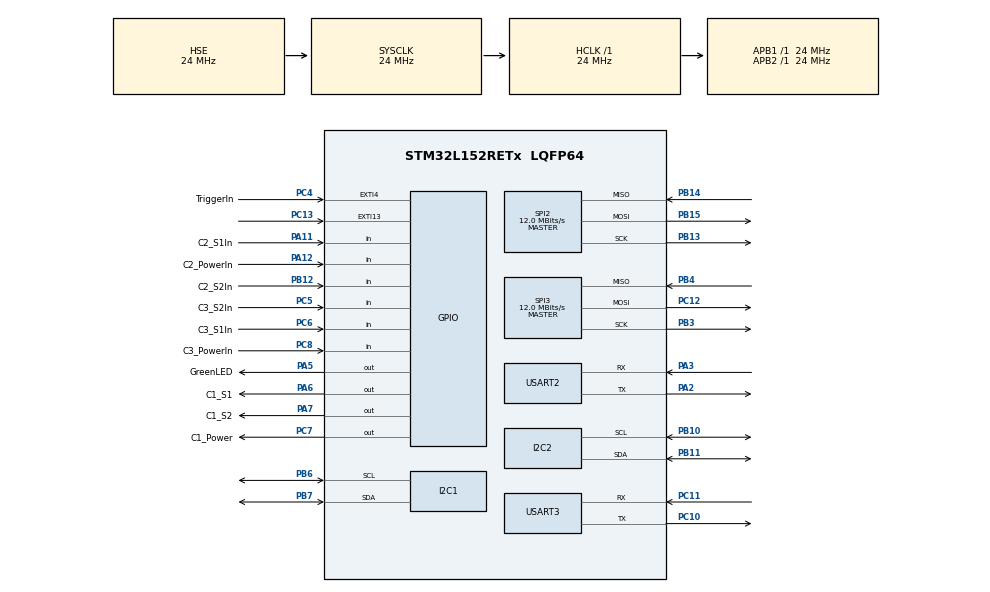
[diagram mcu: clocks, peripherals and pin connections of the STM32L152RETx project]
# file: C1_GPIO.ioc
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Mcu.Family=STM32L1
Mcu.Name=STM32L152RETx
Mcu.Package=LQFP64
NVIC.EXTI15_10_IRQn=true\:0\:0\:false\:false\:true\:true\:true
NVIC.EXTI4_IRQn=true\:0\:0\:false\:false\:true\:true\:true
NVIC.PriorityGroup=NVIC_PRIORITYGROUP_4
PA11.GPIO_Label=C2_S1In
PA11.Signal=GPIO_Input
PA12.GPIO_Label=C2_PowerIn
PA12.Signal=GPIO_Input
PA2.Mode=Asynchronous
PA2.Signal=USART2_TX
PA3.Mode=Asynchronous
PA3.Signal=USART2_RX
PA5.GPIO_Label=GreenLED
PA5.Signal=GPIO_Output
PA6.GPIO_Label=C1_S1
PA6.Signal=GPIO_Output
PA7.GPIO_Label=C1_S2
PA7.Signal=GPIO_Output
PB10.Mode=I2C
PB10.Signal=I2C2_SCL
PB11.Mode=I2C
PB11.Signal=I2C2_SDA
PB12.GPIO_Label=C2_S2In
PB12.Signal=GPIO_Input
PB13.Mode=Full_Duplex_Master
PB13.Signal=SPI2_SCK
PB14.Mode=Full_Duplex_Master
PB14.Signal=SPI2_MISO
PB15.Mode=Full_Duplex_Master
PB15.Signal=SPI2_MOSI
PB3.Mode=Full_Duplex_Master
PB3.Signal=SPI3_SCK
PB4.Mode=Full_Duplex_Master
PB4.Signal=SPI3_MISO
PB6.Mode=I2C
PB6.Signal=I2C1_SCL
PB7.Mode=I2C
PB7.Signal=I2C1_SDA
PC10.Mode=Asynchronous
PC10.Signal=USART3_TX
PC11.Mode=Asynchronous
PC11.Signal=USART3_RX
PC12.Mode=Full_Duplex_Master
PC12.Signal=SPI3_MOSI
PC13-WKUP2.Signal=GPXTI13
PC4.GPIO_Label=TriggerIn
PC4.GPIO_ModeDefaultEXTI=GPIO_MODE_IT_FALLING
PC4.Signal=GPXTI4
PC5.GPIO_Label=C3_S2In
PC5.Signal=GPIO_Input
PC6.GPIO_Label=C3_S1In
PC6.Signal=GPIO_Input
PC7.GPIO_Label=C1_Power
PC7.Signal=GPIO_Output
PC8.GPIO_Label=C3_PowerIn
PC8.Signal=GPIO_Input
PH0-OSC_IN.Mode=HSE-External-Oscillator
PH0-OSC_IN.Signal=RCC_OSC_IN
PH1-OSC_OUT.Mode=HSE-External-Oscillator
PH1-OSC_OUT.Signal=RCC_OSC_OUT
ProjectManager.HeapSize=0x200
ProjectManager.StackSize=0x400
ProjectManager.TargetToolchain=MDK-ARM V5.27
RCC.48MHZClocksFreq_Value=36000000
RCC.AHBFreq_Value=24000000
RCC.APB1Freq_Value=24000000
RCC.APB1TimFreq_Value=24000000
RCC.APB2Freq_Value=24000000
RCC.APB2TimFreq_Value=24000000
RCC.HCLKFreq_Value=24000000
RCC.HSE_VALUE=24000000
RCC.HSI_VALUE=16000000
RCC.LSE_VALUE=32768
RCC.MSI_VALUE=2097000
RCC.PLLSourceVirtual=RCC_PLLSOURCE_HSE
RCC.SYSCLKFreq_VALUE=24000000
RCC.SYSCLKSource=RCC_SYSCLKSOURCE_HSE
RCC.VCOOutputFreq_Value=72000000
SPI2.CalculateBaudRate=12.0 MBits/s
SPI2.Direction=SPI_DIRECTION_2LINES
SPI2.Mode=SPI_MODE_MASTER
SPI2.VirtualType=VM_MASTER
SPI3.CalculateBaudRate=12.0 MBits/s
SPI3.Direction=SPI_DIRECTION_2LINES
SPI3.Mode=SPI_MODE_MASTER
SPI3.VirtualType=VM_MASTER
USART2.VirtualMode=VM_ASYNC
USART3.VirtualMode=VM_ASYNC
board=custom

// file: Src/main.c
/* USER CODE BEGIN Header */
/**
  ******************************************************************************
  * @file           : main.c
  * @brief          : Main program body
  ******************************************************************************
  * @attention
  *
  * <h2><center>&copy; Copyright (c) 2020 STMicroelectronics.
  * All rights reserved.</center></h2>
  *
  * This software component is licensed by ST under BSD 3-Clause license,
  * the "License"; You may not use this file except in compliance with the
  * License. You may obtain a copy of the License at:
  *                        opensource.org/licenses/BSD-3-Clause
  *
  ******************************************************************************
  */
/* USER CODE END Header */

#include "main.h"

/* USER CODE BEGIN Includes */
#include <stdio.h>
/* USER CODE END Includes */

/* USER CODE BEGIN PTD */
typedef enum{
	P_Core = 0x7, S_Core = 0x5, Reboot = 0x1, Sleep = 0x6, Killed = 0x0
}States;

typedef enum{
	ThreeCore = 0, TwoCore = 1, OneCore = 2
}CoreStatus;
/* USER CODE END PTD */

/* USER CODE BEGIN PD */
#define Power 1
#define NoPower 0

/* USER CODE END PD */

/* USER CODE BEGIN PM */
#define Read(gpio, pin) HAL_GPIO_ReadPin(gpio, pin)
#define Combine(pin1, pin2, pin3) (pin1 << 2) | (pin2 << 1) | pin1
/* USER CODE END PM */

I2C_HandleTypeDef hi2c1;
I2C_HandleTypeDef hi2c2;

SPI_HandleTypeDef hspi2;
SPI_HandleTypeDef hspi3;

UART_HandleTypeDef huart2;
UART_HandleTypeDef huart3;

/* USER CODE BEGIN PV */
	int trigger = 0;
	int transitionComplete = 0;
/* USER CODE END PV */

void SystemClock_Config(void);
static void MX_GPIO_Init(void);
static void MX_USART2_UART_Init(void);
static void MX_I2C1_Init(void);
static void MX_I2C2_Init(void);
static void MX_SPI2_Init(void);
static void MX_SPI3_Init(void);
static void MX_USART3_UART_Init(void);
/* USER CODE BEGIN PFP */
States state_checker(States my_state);
CoreStatus power_checker(void);
void display_LED(States *state);
void GOTHEFUCKTOSLEEP(void);
/* USER CODE END PFP */

/* USER CODE BEGIN 0 */
	char Msg1[100] = {0};
/* USER CODE END 0 */

int main(void)
{
  /* USER CODE BEGIN 1 */
	//INTIALIZE POWER AND STATE
	States state;
	CoreStatus power;
	state = P_Core;
	power = ThreeCore;
  /* USER CODE END 1 */

  /* MCU Configuration--------------------------------------------------------*/

  /* Reset of all peripherals, Initializes the Flash interface and the Systick. */
  HAL_Init();

  /* Configure the system clock */
  SystemClock_Config();

  /* Initialize all configured peripherals */
  MX_GPIO_Init();
  MX_USART2_UART_Init();
  MX_I2C1_Init();
  MX_I2C2_Init();
  MX_SPI2_Init();
  MX_SPI3_Init();
  MX_USART3_UART_Init();

  /* Infinite loop */
  /* USER CODE BEGIN WHILE */
  while (1)
  {
				HAL_GPIO_WritePin(GPIOC, C1_Power_Pin, GPIO_PIN_SET);
				HAL_GPIO_WritePin(GPIOA, C1_S1_Pin, GPIO_PIN_SET);
				HAL_GPIO_WritePin(GPIOA, C1_S2_Pin, GPIO_PIN_SET);

		#if 0
    /* USER CODE END WHILE */
<<<<<<< HEAD
		if(trigger == 1){
			switch(state){
				case P_Core:
					//if( power == ThreeCore || power == TwoCore) state = S_Core;
					//else state = P_Core;
					state = S_Core;
					//	HAL_GPIO_WritePin(GPIOA, GreenLED_Pin, GPIO_PIN_SET);
					//state = state_checker(state);
					break;
				case S_Core:
					//if(power == ThreeCore || power == TwoCore) state = Reboot;
					//If you are the only core
					//if(power == OneCore) state = P_Core;
					state = Reboot;
					//HAL_GPIO_WritePin(GPIOA, GreenLED_Pin, GPIO_PIN_SET);
					break;
				case Reboot:
					//if(power == ThreeCore) state = Sleep;
				  //else if(power == TwoCore) state = P_Core;
					state = Sleep;
					//HAL_GPIO_WritePin(GPIOA, GreenLED_Pin, GPIO_PIN_SET);
					break;
				case Sleep:
					//UNIQUE TO THREECORE
					state = P_Core;
					//HAL_GPIO_WritePin(GPIOA, GreenLED_Pin, GPIO_PIN_SET);
					break;
				case Killed:
					state = Killed;
					HAL_GPIO_WritePin(GPIOC, C1_Power_Pin, GPIO_PIN_RESET);
					break;
			}
			//RESET TRIGGER
			trigger = 0;
		} else {
			display_LED(&state);
		}

=======
			if(trigger == 1){
					switch(state){
						case P_Core:
							HAL_GPIO_WritePin(GPIOA, GPIO_PIN_5, GPIO_PIN_RESET);
							//if( power == ThreeCore || power == TwoCore) state = S_Core;
							//else state = P_Core;
							state = S_Core;
					    //HAL_GPIO_WritePin(GPIOA, GreenLED_Pin, GPIO_PIN_SET);
							//state = state_checker(state);
							break;
						case S_Core:
							HAL_GPIO_WritePin(GPIOA, GPIO_PIN_5, GPIO_PIN_RESET);
							//if(power == ThreeCore || power == TwoCore) state = Reboot;
							//If you are the only core
							//if(power == OneCore) state = P_Core;
							state = Reboot;
						//HAL_GPIO_WritePin(GPIOA, GreenLED_Pin, GPIO_PIN_SET);
							break;
						case Reboot:
							HAL_GPIO_WritePin(GPIOA, GPIO_PIN_5, GPIO_PIN_RESET);
							//if(power == ThreeCore) state = Sleep;
						  //else if(power == TwoCore) state = P_Core;
							state = Sleep;
						//HAL_GPIO_WritePin(GPIOA, GreenLED_Pin, GPIO_PIN_SET);
							break;
						case Sleep:
							//HAL_GPIO_WritePin(GPIOA, GPIO_PIN_5, GPIO_PIN_RESET);
							//GOTHEFUCKTOSLEEP();
							//UNIQUE TO THREECORE
							state = P_Core;
						//HAL_GPIO_WritePin(GPIOA, GreenLED_Pin, GPIO_PIN_SET);
							break;
						case Killed:
							state = Killed;
							HAL_GPIO_WritePin(GPIOC, C1_Power_Pin, GPIO_PIN_RESET);
							break;
					}
					//RESET TRIGGER
					trigger = 0;
			}
			#endif

			//display_LED(&state);
>>>>>>> 4cb03135c4a775d7a18a05864055eaecff575b94
			#if 0
			else{

				if(state == Sleep){
					snprintf((char *)Msg1, sizeof(Msg1), "\r\nSleep soon\r\n");
					HAL_UART_Transmit(&huart2, (uint8_t *) Msg1, sizeof(Msg1), 1);
					//HAL_Delay(2500);
					//going to sleep
					GOTHEFUCKTOSLEEP();
					//woke up
					snprintf((char *)Msg1, sizeof(Msg1), "\r\nWoke Up\r\n");
					HAL_UART_Transmit(&huart2, (uint8_t *) Msg1, sizeof(Msg1), 1);

					/*
					for(int i = 0; i < 5; ++i){
						HAL_GPIO_TogglePin(GPIOA, GPIO_PIN_5);
						HAL_Delay(150);
					}
					*/
			}
		}
		#endif
<<<<<<< HEAD

=======
>>>>>>> 4cb03135c4a775d7a18a05864055eaecff575b94
		#if 0
		if(state == Sleep){
			//HAL_GPIO_WritePin(GPIOA, GreenLED_Pin, GPIO_PIN_SET);
			snprintf((char *)Msg1, sizeof(Msg1), "\r\nSleep soon\r\n");
			HAL_UART_Transmit(&huart2, (uint8_t *) Msg1, sizeof(Msg1), 1);

			GOTHEFUCKTOSLEEP();
			/*
					for(int i = 0; i < 5; ++i){
						HAL_GPIO_WritePin(GPIOA, GPIO_PIN_5, GPIO_PIN_SET);
						//HAL_Delay(100);
					}
					snprintf((char *)Msg1, sizeof(Msg1), "\r\nWoke Up\r\n");
					HAL_UART_Transmit(&huart2, (uint8_t *) Msg1, sizeof(Msg1), 1);
			*/
		}
		snprintf((char *)Msg1, sizeof(Msg1), "\r\nstate:%d %d\r\n", state, power);
		HAL_UART_Transmit(&huart2, (uint8_t *) Msg1, sizeof(Msg1), 1);
		#endif
<<<<<<< HEAD
=======
		//display_LED(&state);
>>>>>>> 4cb03135c4a775d7a18a05864055eaecff575b94
  }
}

void display_LED(States *state){
		snprintf((char *)Msg1, sizeof(Msg1), "\r\nstate:%d\r\n", *state);
		HAL_UART_Transmit(&huart2, (uint8_t *) Msg1, sizeof(Msg1), 1);
		switch(*state){
			case P_Core:
				HAL_GPIO_WritePin(GPIOC, C1_Power_Pin, GPIO_PIN_SET);
				HAL_GPIO_WritePin(GPIOA, C1_S1_Pin, GPIO_PIN_SET);
				HAL_GPIO_WritePin(GPIOA, C1_S2_Pin, GPIO_PIN_SET);
				break;
			case S_Core:
				HAL_GPIO_WritePin(GPIOC, C1_Power_Pin, GPIO_PIN_SET);
				HAL_GPIO_WritePin(GPIOA, C1_S1_Pin, GPIO_PIN_RESET);
				HAL_GPIO_WritePin(GPIOA, C1_S2_Pin, GPIO_PIN_SET);
				break;
			case Reboot:
				HAL_GPIO_WritePin(GPIOC, C1_Power_Pin, GPIO_PIN_RESET);
				HAL_GPIO_WritePin(GPIOA, C1_S1_Pin, GPIO_PIN_RESET);
				HAL_GPIO_WritePin(GPIOA, C1_S2_Pin, GPIO_PIN_SET);
				break;
			case Sleep:
				HAL_GPIO_WritePin(GPIOC, C1_Power_Pin, GPIO_PIN_SET);
				HAL_GPIO_WritePin(GPIOA, C1_S1_Pin, GPIO_PIN_SET);
				HAL_GPIO_WritePin(GPIOA, C1_S2_Pin, GPIO_PIN_RESET);
				break;
			case Killed:
				HAL_GPIO_WritePin(GPIOC, C1_Power_Pin, GPIO_PIN_RESET);
				HAL_GPIO_WritePin(GPIOA, C1_S1_Pin, GPIO_PIN_RESET);
				HAL_GPIO_WritePin(GPIOA, C1_S2_Pin, GPIO_PIN_RESET);
				break;
		}
}
void SystemClock_Config(void)
{
  RCC_OscInitTypeDef RCC_OscInitStruct = {0};
  RCC_ClkInitTypeDef RCC_ClkInitStruct = {0};

  /** Configure the main internal regulator output voltage
  */
  __HAL_PWR_VOLTAGESCALING_CONFIG(PWR_REGULATOR_VOLTAGE_SCALE1);
  /** Initializes the CPU, AHB and APB busses clocks
  */
  RCC_OscInitStruct.OscillatorType = RCC_OSCILLATORTYPE_HSE;
  RCC_OscInitStruct.HSEState = RCC_HSE_ON;
  RCC_OscInitStruct.PLL.PLLState = RCC_PLL_NONE;
  if (HAL_RCC_OscConfig(&RCC_OscInitStruct) != HAL_OK)
  {
    Error_Handler();
  }
  /** Initializes the CPU, AHB and APB busses clocks
  */
  RCC_ClkInitStruct.ClockType = RCC_CLOCKTYPE_HCLK|RCC_CLOCKTYPE_SYSCLK
                              |RCC_CLOCKTYPE_PCLK1|RCC_CLOCKTYPE_PCLK2;
  RCC_ClkInitStruct.SYSCLKSource = RCC_SYSCLKSOURCE_HSE;
  RCC_ClkInitStruct.AHBCLKDivider = RCC_SYSCLK_DIV1;
  RCC_ClkInitStruct.APB1CLKDivider = RCC_HCLK_DIV1;
  RCC_ClkInitStruct.APB2CLKDivider = RCC_HCLK_DIV1;

  if (HAL_RCC_ClockConfig(&RCC_ClkInitStruct, FLASH_LATENCY_1) != HAL_OK)
  {
    Error_Handler();
  }
}

static void MX_I2C1_Init(void)
{

  hi2c1.Instance = I2C1;
  hi2c1.Init.ClockSpeed = 100000;
  hi2c1.Init.DutyCycle = I2C_DUTYCYCLE_2;
  hi2c1.Init.OwnAddress1 = 0;
  hi2c1.Init.AddressingMode = I2C_ADDRESSINGMODE_7BIT;
  hi2c1.Init.DualAddressMode = I2C_DUALADDRESS_DISABLE;
  hi2c1.Init.OwnAddress2 = 0;
  hi2c1.Init.GeneralCallMode = I2C_GENERALCALL_DISABLE;
  hi2c1.Init.NoStretchMode = I2C_NOSTRETCH_DISABLE;
  if (HAL_I2C_Init(&hi2c1) != HAL_OK)
  {
    Error_Handler();
  }

}

static void MX_I2C2_Init(void)
{

  hi2c2.Instance = I2C2;
  hi2c2.Init.ClockSpeed = 100000;
  hi2c2.Init.DutyCycle = I2C_DUTYCYCLE_2;
  hi2c2.Init.OwnAddress1 = 0;
  hi2c2.Init.AddressingMode = I2C_ADDRESSINGMODE_7BIT;
  hi2c2.Init.DualAddressMode = I2C_DUALADDRESS_DISABLE;
  hi2c2.Init.OwnAddress2 = 0;
  hi2c2.Init.GeneralCallMode = I2C_GENERALCALL_DISABLE;
  hi2c2.Init.NoStretchMode = I2C_NOSTRETCH_DISABLE;
  if (HAL_I2C_Init(&hi2c2) != HAL_OK)
  {
    Error_Handler();
  }

}

static void MX_SPI2_Init(void)
{

  /* SPI2 parameter configuration*/
  hspi2.Instance = SPI2;
  hspi2.Init.Mode = SPI_MODE_MASTER;
  hspi2.Init.Direction = SPI_DIRECTION_2LINES;
  hspi2.Init.DataSize = SPI_DATASIZE_8BIT;
  hspi2.Init.CLKPolarity = SPI_POLARITY_LOW;
  hspi2.Init.CLKPhase = SPI_PHASE_1EDGE;
  hspi2.Init.NSS = SPI_NSS_SOFT;
  hspi2.Init.BaudRatePrescaler = SPI_BAUDRATEPRESCALER_2;
  hspi2.Init.FirstBit = SPI_FIRSTBIT_MSB;
  hspi2.Init.TIMode = SPI_TIMODE_DISABLE;
  hspi2.Init.CRCCalculation = SPI_CRCCALCULATION_DISABLE;
  hspi2.Init.CRCPolynomial = 10;
  if (HAL_SPI_Init(&hspi2) != HAL_OK)
  {
    Error_Handler();
  }

}

static void MX_SPI3_Init(void)
{

  /* SPI3 parameter configuration*/
  hspi3.Instance = SPI3;
  hspi3.Init.Mode = SPI_MODE_MASTER;
  hspi3.Init.Direction = SPI_DIRECTION_2LINES;
  hspi3.Init.DataSize = SPI_DATASIZE_8BIT;
  hspi3.Init.CLKPolarity = SPI_POLARITY_LOW;
  hspi3.Init.CLKPhase = SPI_PHASE_1EDGE;
  hspi3.Init.NSS = SPI_NSS_SOFT;
  hspi3.Init.BaudRatePrescaler = SPI_BAUDRATEPRESCALER_2;
  hspi3.Init.FirstBit = SPI_FIRSTBIT_MSB;
  hspi3.Init.TIMode = SPI_TIMODE_DISABLE;
  hspi3.Init.CRCCalculation = SPI_CRCCALCULATION_DISABLE;
  hspi3.Init.CRCPolynomial = 10;
  if (HAL_SPI_Init(&hspi3) != HAL_OK)
  {
    Error_Handler();
  }

}

static void MX_USART2_UART_Init(void)
{

  huart2.Instance = USART2;
  huart2.Init.BaudRate = 115200;
  huart2.Init.WordLength = UART_WORDLENGTH_8B;
  huart2.Init.StopBits = UART_STOPBITS_1;
  huart2.Init.Parity = UART_PARITY_NONE;
  huart2.Init.Mode = UART_MODE_TX_RX;
  huart2.Init.HwFlowCtl = UART_HWCONTROL_NONE;
  huart2.Init.OverSampling = UART_OVERSAMPLING_16;
  if (HAL_UART_Init(&huart2) != HAL_OK)
  {
    Error_Handler();
  }

}

static void MX_USART3_UART_Init(void)
{

  huart3.Instance = USART3;
  huart3.Init.BaudRate = 115200;
  huart3.Init.WordLength = UART_WORDLENGTH_8B;
  huart3.Init.StopBits = UART_STOPBITS_1;
  huart3.Init.Parity = UART_PARITY_NONE;
  huart3.Init.Mode = UART_MODE_TX_RX;
  huart3.Init.HwFlowCtl = UART_HWCONTROL_NONE;
  huart3.Init.OverSampling = UART_OVERSAMPLING_16;
  if (HAL_UART_Init(&huart3) != HAL_OK)
  {
    Error_Handler();
  }

}

static void MX_GPIO_Init(void)
{
  GPIO_InitTypeDef GPIO_InitStruct = {0};

  /* GPIO Ports Clock Enable */
  __HAL_RCC_GPIOC_CLK_ENABLE();
  __HAL_RCC_GPIOH_CLK_ENABLE();
  __HAL_RCC_GPIOA_CLK_ENABLE();
  __HAL_RCC_GPIOB_CLK_ENABLE();

  /*Configure GPIO pin Output Level */
  HAL_GPIO_WritePin(GPIOA, GreenLED_Pin|C1_S1_Pin|C1_S2_Pin, GPIO_PIN_RESET);

  /*Configure GPIO pin Output Level */
  HAL_GPIO_WritePin(C1_Power_GPIO_Port, C1_Power_Pin, GPIO_PIN_RESET);

  /*Configure GPIO pin : PC13 */
  GPIO_InitStruct.Pin = GPIO_PIN_13;
  GPIO_InitStruct.Mode = GPIO_MODE_IT_RISING;
  GPIO_InitStruct.Pull = GPIO_NOPULL;
  HAL_GPIO_Init(GPIOC, &GPIO_InitStruct);

  /*Configure GPIO pins : GreenLED_Pin C1_S1_Pin C1_S2_Pin */
  GPIO_InitStruct.Pin = GreenLED_Pin|C1_S1_Pin|C1_S2_Pin;
  GPIO_InitStruct.Mode = GPIO_MODE_OUTPUT_PP;
  GPIO_InitStruct.Pull = GPIO_NOPULL;
  GPIO_InitStruct.Speed = GPIO_SPEED_FREQ_LOW;
  HAL_GPIO_Init(GPIOA, &GPIO_InitStruct);

  /*Configure GPIO pin : TriggerIn_Pin */
  GPIO_InitStruct.Pin = TriggerIn_Pin;
  GPIO_InitStruct.Mode = GPIO_MODE_IT_FALLING;
  GPIO_InitStruct.Pull = GPIO_NOPULL;
  HAL_GPIO_Init(TriggerIn_GPIO_Port, &GPIO_InitStruct);

  /*Configure GPIO pins : C3_S2In_Pin C3_S1In_Pin C3_PowerIn_Pin */
  GPIO_InitStruct.Pin = C3_S2In_Pin|C3_S1In_Pin|C3_PowerIn_Pin;
  GPIO_InitStruct.Mode = GPIO_MODE_INPUT;
  GPIO_InitStruct.Pull = GPIO_NOPULL;
  HAL_GPIO_Init(GPIOC, &GPIO_InitStruct);

  /*Configure GPIO pin : C2_S2In_Pin */
  GPIO_InitStruct.Pin = C2_S2In_Pin;
  GPIO_InitStruct.Mode = GPIO_MODE_INPUT;
  GPIO_InitStruct.Pull = GPIO_NOPULL;
  HAL_GPIO_Init(C2_S2In_GPIO_Port, &GPIO_InitStruct);

  /*Configure GPIO pin : C1_Power_Pin */
  GPIO_InitStruct.Pin = C1_Power_Pin;
  GPIO_InitStruct.Mode = GPIO_MODE_OUTPUT_PP;
  GPIO_InitStruct.Pull = GPIO_NOPULL;
  GPIO_InitStruct.Speed = GPIO_SPEED_FREQ_LOW;
  HAL_GPIO_Init(C1_Power_GPIO_Port, &GPIO_InitStruct);

  /*Configure GPIO pins : C2_S1In_Pin C2_PowerIn_Pin */
  GPIO_InitStruct.Pin = C2_S1In_Pin|C2_PowerIn_Pin;
  GPIO_InitStruct.Mode = GPIO_MODE_INPUT;
  GPIO_InitStruct.Pull = GPIO_NOPULL;
  HAL_GPIO_Init(GPIOA, &GPIO_InitStruct);

  /* EXTI interrupt init*/
  HAL_NVIC_SetPriority(EXTI4_IRQn, 0, 0);
  HAL_NVIC_EnableIRQ(EXTI4_IRQn);

  HAL_NVIC_SetPriority(EXTI15_10_IRQn, 0, 0);
  HAL_NVIC_EnableIRQ(EXTI15_10_IRQn);

}

/* USER CODE BEGIN 4 */
void HAL_GPIO_EXTI_Callback(uint16_t GPIO_Pin){
	if(trigger == 0){
		if(GPIO_Pin == GPIO_PIN_4) {
			trigger = 1;
		}
		HAL_GPIO_TogglePin(GPIOA, GreenLED_Pin);
	}
}

void GOTHEFUCKTOSLEEP(void){
		HAL_SuspendTick();

		HAL_PWR_EnterSLEEPMode(PWR_LOWPOWERREGULATOR_ON, PWR_SLEEPENTRY_WFI);

		HAL_ResumeTick();

}
/* USER CODE END 4 */

void Error_Handler(void)
{
}

/************************ (C) COPYRIGHT STMicroelectronics *****END OF FILE****/
